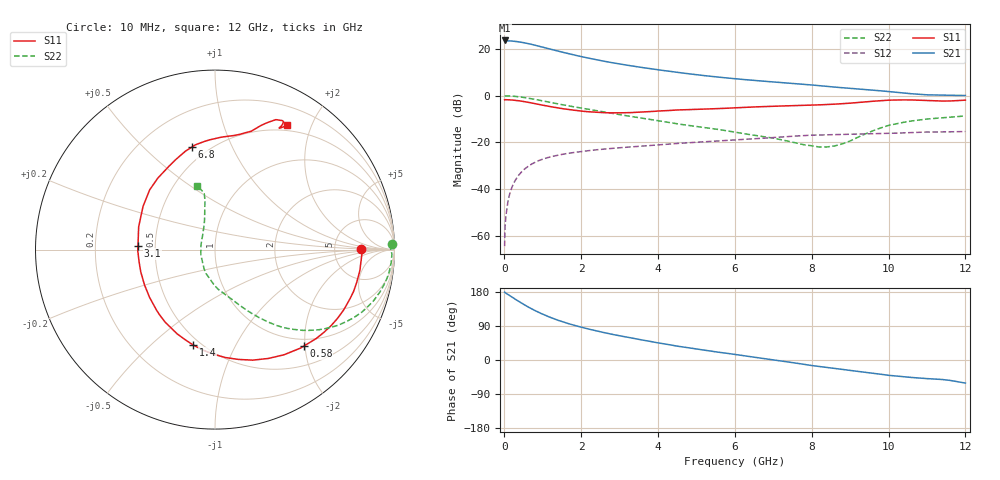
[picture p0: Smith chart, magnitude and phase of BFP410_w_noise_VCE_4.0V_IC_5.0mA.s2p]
! Infineon Technologies  Discrete & RF Semiconductors
! BFP410
! VCE =  4.0 V,  IC =  5.0 mA
! Common Emitter S-Parameters:  Nov 2015
# GHz  S  MA  R  50
!  f  S11  S21  S12  S22
! GHz  MAG  ANG  MAG  ANG  MAG  ANG  MAG  ANG
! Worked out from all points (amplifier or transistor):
!   243 points, 10 MHz to 12 GHz, reference 50 ohm
!   highest |S21| = 23.6 dB at 10 MHz (marker M1)
!   |S21| within 3 dB of that: start of sweep to 1.037 GHz
!   unconditionally stable (mu >= 1): start of sweep to 11.37 MHz; 3.104 GHz to end of sweep
!   at 240 MHz: K = 0.14, MSG = 30.5 dB, |S12| = -37.7 dB
!   at 1.84 GHz: K = 0.63, MSG = 20.8 dB, |S12| = -24.3 dB
!   at 12 GHz: K = 1.07, MAG = 6.1 dB, |S12| = -15.4 dB
!   lowest NFmin = 1.00 dB at 900 MHz
!   S11 on the Smith chart (normalised r, x): 10 MHz: 9.77, +0.16; 580 MHz: 0.85, -1.97; 1.4 GHz: 0.46, -0.69; 3.1 GHz: 0.40, +0.02; 6.8 GHz: 0.41, +0.71; 12 GHz: 0.43, +1.65
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0.01  0.8143 0.2  15.17 179.1  0.0006 44.4  0.9871 1.7
0.02  0.8202 -0.9  15.04 178.1  0.0015 57.7  0.9789 0.1
0.09  0.8154 -7.3  14.92 173.5  0.0051 77.1  0.9848 -3.4
0.2  0.8066 -16.8  14.73 166.3  0.0109 78.0  0.9756 -8.1
0.34  0.7844 -28.5  14.31 157.1  0.0181 74.1  0.9528 -13.6
0.5  0.7504 -41.4  13.62 147.1  0.0256 69.0  0.9163 -19.5
0.58  0.7302 -47.5  13.2 142.3  0.029 66.3  0.8949 -22.3
0.7  0.7006 -56.8  12.59 135.7  0.0338 62.8  0.8613 -26.1
0.9  0.651 -71.1  11.48 125.5  0.0407 57.4  0.8022 -31.8
1.12  0.5992 -85.7  10.31 115.7  0.0469 52.6  0.7385 -37.0
1.4  0.545 -103.0  8.978 104.8  0.0532 47.5  0.6649 -42.6
1.7  0.5003 -119.4  7.819 95.1  0.0588 43.3  0.5988 -47.2
2.02  0.4662 -135.1  6.802 86.3  0.064 39.9  0.5396 -51.2
2.6  0.4327 -162.6  5.444 72.2  0.0718 34.8  0.4443 -57.5
3.1  0.4297 177.3  4.616 62.1  0.0777 31.5  0.3805 -62.4
4.1  0.4715 146.5  3.488 43.7  0.0898 26.1  0.2819 -72.8
5  0.5102 128.6  2.801 28.9  0.1006 21.0  0.219 -86.1
6.1  0.5521 112.0  2.263 13.3  0.1134 15.1  0.1598 -101.8
6.8  0.5848 102.9  2.023 3.2  0.1236 11.1  0.1304 -115.7
8.2  0.6348 83.7  1.631 -17.2  0.1437 -0.7  0.0795 -172.8
10.2  0.805 63.6  1.176 -42.3  0.1576 -14.4  0.2499 103.1
12  0.7998 59.9  1.008 -60.9  0.1704 -29.3  0.3674 105.5
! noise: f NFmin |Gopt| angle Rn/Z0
0.45  1.02  0.27  4  0.25
0.9  1  0.24  16  0.19
1.8  1.16  0.15  54  0.17
2.4  1.16  0.15  52  0.2
5.5  2.1  0.32  -125  0.21
10  3.4  0.67  -52  1.79
